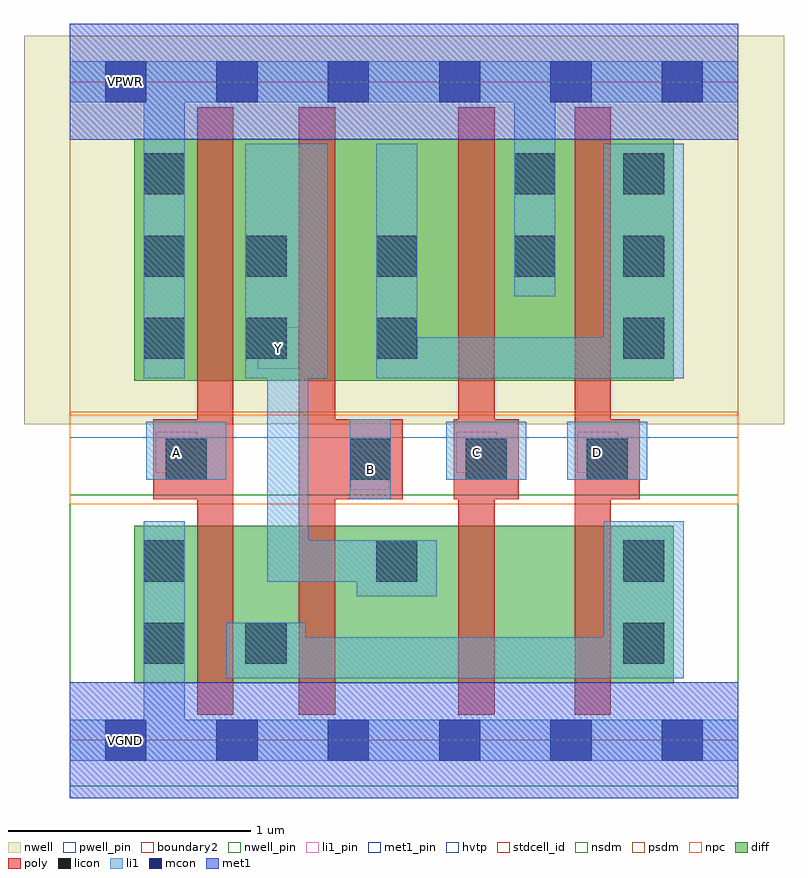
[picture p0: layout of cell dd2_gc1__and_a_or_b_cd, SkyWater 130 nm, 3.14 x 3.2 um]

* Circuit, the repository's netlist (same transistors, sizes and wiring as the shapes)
.subckt dd2_gc1__and_a_or_b_cd A B C D VGND VNB VPB VPWR Y
X0 Y B n1 VNB sky130_fd_pr__nfet_01v8 w=0.65 l=0.15
X1 Y C n2 VNB sky130_fd_pr__nfet_01v8 w=0.65 l=0.15
X2 n2 D n1 VNB sky130_fd_pr__nfet_01v8 w=0.65 l=0.15
X3 n1 A VGND VNB sky130_fd_pr__nfet_01v8 w=0.65 l=0.15
X4 Y A VPWR VPB sky130_fd_pr__pfet_01v8_hvt w=1 l=0.15
X5 Y B p1 VPB sky130_fd_pr__pfet_01v8_hvt w=1 l=0.15
X6 p1 C VPWR VPB sky130_fd_pr__pfet_01v8_hvt w=1 l=0.15
X7 p1 D VPWR VPB sky130_fd_pr__pfet_01v8_hvt w=1 l=0.15
.ends

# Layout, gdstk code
import gdstk
lib = gdstk.Library(unit=1e-6, precision=1e-09)
def R(c, l, rs):  # rectangles x0, y0, x1, y1
    for r in rs: c.add(gdstk.rectangle(r[:2], r[2:], *l))
def A(c, l, x, y, w, h, nx, ny, dx, dy):  # array of equal rectangles
    R(c, l, [(x+i*dx, y+j*dy, x+i*dx+w, y+j*dy+h) for i in range(nx) for j in range(ny)])
nwell_pin = (64, 16)
nwell = (64, 20)
diff = (65, 20)
poly = (66, 20)
licon = (66, 44)
li1_pin = (67, 16)
li1 = (67, 20)
mcon = (67, 44)
met1_pin = (68, 16)
met1 = (68, 20)
hvtp = (78, 44)
stdcell_id = (81, 4)
nsdm = (93, 44)
psdm = (94, 20)
npc = (95, 20)
pwell_pin = (122, 16)
boundary2 = (236, 0)

dd2_gc1__and_a_or_b_cd = lib.new_cell('dd2_gc1__and_a_or_b_cd')
R(dd2_gc1__and_a_or_b_cd, nwell_pin, [(0.145,2.635,0.315,2.805)])
R(dd2_gc1__and_a_or_b_cd, nwell, [(-0.19,1.305,2.95,2.91)])
R(dd2_gc1__and_a_or_b_cd, diff, [(0.265,0.235,2.495,0.885), (0.265,1.485,2.495,2.485)])
R(dd2_gc1__and_a_or_b_cd, poly, [(0.525,0.105,0.675,2.615), (0.945,0.105,1.095,2.615), (1.605,0.105,1.755,2.615), (2.085,0.105,2.235,2.615), (0.345,0.995,0.675,1.325), (0.945,0.995,1.375,1.325), (1.585,0.995,1.855,1.325), (2.085,0.995,2.355,1.325)])
A(dd2_gc1__and_a_or_b_cd, licon, 0.305, 1.575, 0.17, 0.17, 1, 3, 0, 0.34)
A(dd2_gc1__and_a_or_b_cd, licon, 2.285, 1.575, 0.17, 0.17, 1, 3, 0, 0.34)
R(dd2_gc1__and_a_or_b_cd, licon, [(0.305,0.315,0.475,0.485), (0.725,0.315,0.895,0.485), (2.285,0.315,2.455,0.485), (0.305,0.655,0.475,0.825), (1.265,0.655,1.435,0.825), (2.285,0.655,2.455,0.825), (0.395,1.075,0.565,1.245), (1.155,1.075,1.325,1.245), (1.635,1.075,1.805,1.245), (2.135,1.075,2.305,1.245), (0.725,1.575,0.895,1.745), (1.265,1.575,1.435,1.745), (0.725,1.915,0.895,2.085), (1.265,1.915,1.435,2.085), (1.835,1.915,2.005,2.085), (1.835,2.255,2.005,2.425)])
R(dd2_gc1__and_a_or_b_cd, li1_pin, [(1.16,1.035,1.32,1.205), (0.355,1.105,0.525,1.275), (1.595,1.105,1.765,1.275), (2.095,1.105,2.265,1.275), (0.775,1.535,0.945,1.705)])
R(dd2_gc1__and_a_or_b_cd, li1, [(0,-0.085,2.76,0.085), (0.305,-0.085,0.475,0.905), (0.645,0.255,0.975,0.485), (0.725,0.255,2.535,0.425), (2.205,0.255,2.535,0.905), (1.185,0.595,1.515,0.825), (0.815,0.655,1.435,0.825), (0.815,0.815,0.985,1.505), (1.155,0.995,1.325,1.325), (0.315,1.075,0.645,1.315), (1.555,1.075,1.885,1.315), (2.055,1.075,2.385,1.315), (0.305,1.495,0.475,2.805), (0.725,1.495,1.065,2.465), (1.265,1.495,1.435,2.465), (1.265,1.495,2.535,1.665), (2.205,1.495,2.535,2.465), (1.835,1.835,2.005,2.805), (0,2.635,2.76,2.805)])
A(dd2_gc1__and_a_or_b_cd, mcon, 0.145, -0.085, 0.17, 0.17, 6, 2, 0.46, 2.72)
R(dd2_gc1__and_a_or_b_cd, met1_pin, [(0.145,-0.085,0.315,0.085), (0.145,2.635,0.315,2.805)])
R(dd2_gc1__and_a_or_b_cd, met1, [(0,-0.24,2.76,0.24), (0,2.48,2.76,2.96)])
R(dd2_gc1__and_a_or_b_cd, hvtp, [(0,1.25,2.76,2.72)])
R(dd2_gc1__and_a_or_b_cd, stdcell_id, [(0,0,2.76,2.72)])
R(dd2_gc1__and_a_or_b_cd, nsdm, [(0,-0.19,2.76,1.015)])
R(dd2_gc1__and_a_or_b_cd, psdm, [(0,1.355,2.76,2.91)])
R(dd2_gc1__and_a_or_b_cd, npc, [(0,0.975,2.76,1.345)])
R(dd2_gc1__and_a_or_b_cd, pwell_pin, [(0.145,-0.085,0.315,0.085)])
R(dd2_gc1__and_a_or_b_cd, boundary2, [(0,0,2.76,2.72)])
dd2_gc1__and_a_or_b_cd.add(gdstk.Label('A', (0.44,1.19), layer=67, texttype=5))
dd2_gc1__and_a_or_b_cd.add(gdstk.Label('B', (1.24,1.12), layer=67, texttype=5))
dd2_gc1__and_a_or_b_cd.add(gdstk.Label('C', (1.68,1.19), layer=67, texttype=5))
dd2_gc1__and_a_or_b_cd.add(gdstk.Label('D', (2.18,1.19), layer=67, texttype=5))
dd2_gc1__and_a_or_b_cd.add(gdstk.Label('Y', (0.86,1.62), layer=67, texttype=5))
dd2_gc1__and_a_or_b_cd.add(gdstk.Label('VGND', (0.23,0), layer=68, texttype=5))
dd2_gc1__and_a_or_b_cd.add(gdstk.Label('VPWR', (0.23,2.72), layer=68, texttype=5))
dd2_gc1__and_a_or_b_cd.add(gdstk.Label('VPB', (0.23,2.72), layer=64, texttype=5))
dd2_gc1__and_a_or_b_cd.add(gdstk.Label('VNB', (0.23,0), layer=64, texttype=59))

lib.write_gds('dd2_gc1__and_a_or_b_cd.gds')
